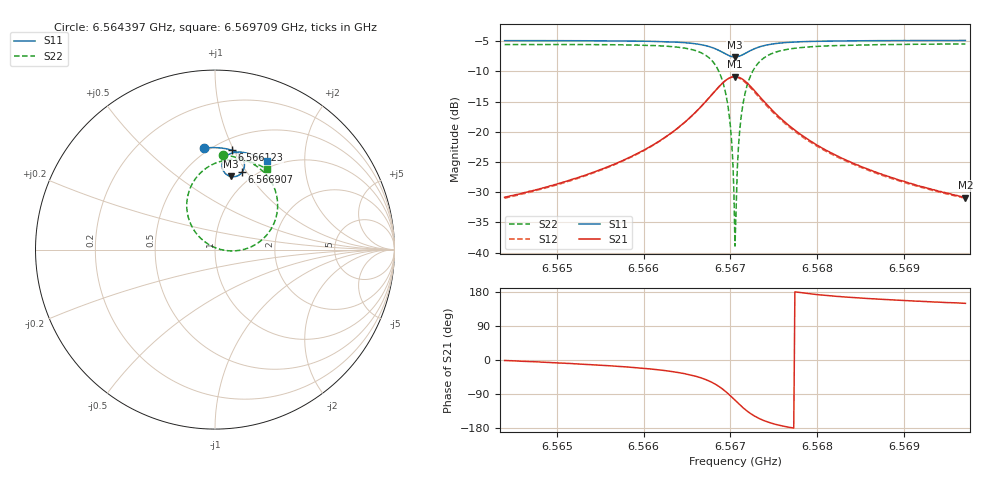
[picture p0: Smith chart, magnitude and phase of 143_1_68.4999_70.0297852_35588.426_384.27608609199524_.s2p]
#  HZ  S  RI  R  50.00
! Rohde & Schwarz Vector Network Analyzer
! Rohde-Schwarz,ZNB20-2Port,1311601062101988,3.16
! Created: UTC 3/20/2024, 4:54:57 PM
! freq[Hz]  re:S11  im:S11  re:S21  im:S21  re:S12  im:S12  re:S22  im:S22
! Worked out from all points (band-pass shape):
!   401 points, 6.564397 GHz to 6.569709 GHz, reference 50 ohm
!   highest |S21| = -10.84 dB at 6.567053 GHz (marker M1); lowest = -30.9 dB at 6.569709 GHz (marker M2)
!   |S21| within 3 dB of the highest: 6.566786 GHz to 6.567318 GHz (531.3 kHz wide, 0.00809 % of centre)
!   lowest |S11| = -7.6 dB at 6.567053 GHz (marker M3), VSWR 2.43, Z = 41.4 + j40.8 ohm
!   |S11| at or under -10 dB: nowhere
!   |S22| runs from -38.9 to -5.4 dB; largest |S21 - S12| = 0.014
!   S11 on the Smith chart (normalised r, x): 6.564397 GHz: 0.47, +0.78; 6.566123 GHz: 0.61, +0.98; 6.566907 GHz: 0.87, +0.95; 6.569709 GHz: 0.90, +1.32
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6.5643969e9  -0.0593 0.5662  0.0287 -0.000654  0.0282 -0.001  0.0421 0.5265
6.5652866e9  0.014 0.568  0.0422 -0.00815  0.0414 -0.00868  0.1277 0.5122
6.5661232e9  0.093 0.5533  0.0718 -0.0331  0.0708 -0.034  0.2397 0.4592
6.5661763e9  0.0988 0.5511  0.075 -0.0368  0.074 -0.0377  0.249 0.4519
6.5666809e9  0.1578 0.4995  0.1105 -0.1258  0.108 -0.1285  0.3471 0.2784
6.5668137e9  0.1638 0.4633  0.0995 -0.1895  0.0947 -0.1931  0.3329 0.1569
6.5669067e9  0.151 0.4309  0.0605 -0.2447  0.0515 -0.2478  0.2611 0.0538
6.5669465e9  0.1387 0.4183  0.0303 -0.2654  0.0198 -0.2668  0.2054 0.0174
6.5669864e9  0.1216 0.4092  -0.00737 -0.2787  -0.0195 -0.2778  0.136 -0.00435
6.5670129e9  0.1083 0.4062  -0.0358 -0.2818  -0.0483 -0.279  0.0849 -0.00746
6.5670262e9  0.1014 0.4058  -0.0503 -0.2814  -0.0628 -0.2773  0.0589 -0.00494
6.5670395e9  0.0944 0.4062  -0.0649 -0.2795  -0.0774 -0.2742  0.0332 0.000269
6.5670528e9  0.0875 0.4075  -0.0793 -0.276  -0.0914 -0.2698  0.00789 0.00812
6.5670793e9  0.0744 0.412  -0.1067 -0.265  -0.1178 -0.2566  -0.0388 0.0311
6.5671059e9  0.0627 0.4193  -0.131 -0.2491  -0.1404 -0.2392  -0.079 0.0622
6.5671324e9  0.0533 0.4287  -0.1509 -0.2298  -0.1586 -0.2186  -0.1109 0.099
6.5671856e9  0.0418 0.4506  -0.1768 -0.1861  -0.1806 -0.1744  -0.1487 0.1792
6.567252e9  0.0396 0.477  -0.1866 -0.134  -0.1867 -0.1235  -0.1562 0.2711
6.5675043e9  0.0779 0.5308  -0.143 -0.0282  -0.1398 -0.0238  -0.0553 0.4491
6.5679425e9  0.1406 0.5432  -0.082 0.00868  -0.0798 0.00993  0.0826 0.5007
6.5688322e9  0.2245 0.5233  -0.0397 0.0152  -0.0387 0.0156  0.2134 0.4835
6.5697087e9  0.2897 0.4922  -0.0247 0.0145  -0.0242 0.0145  0.2914 0.4479
